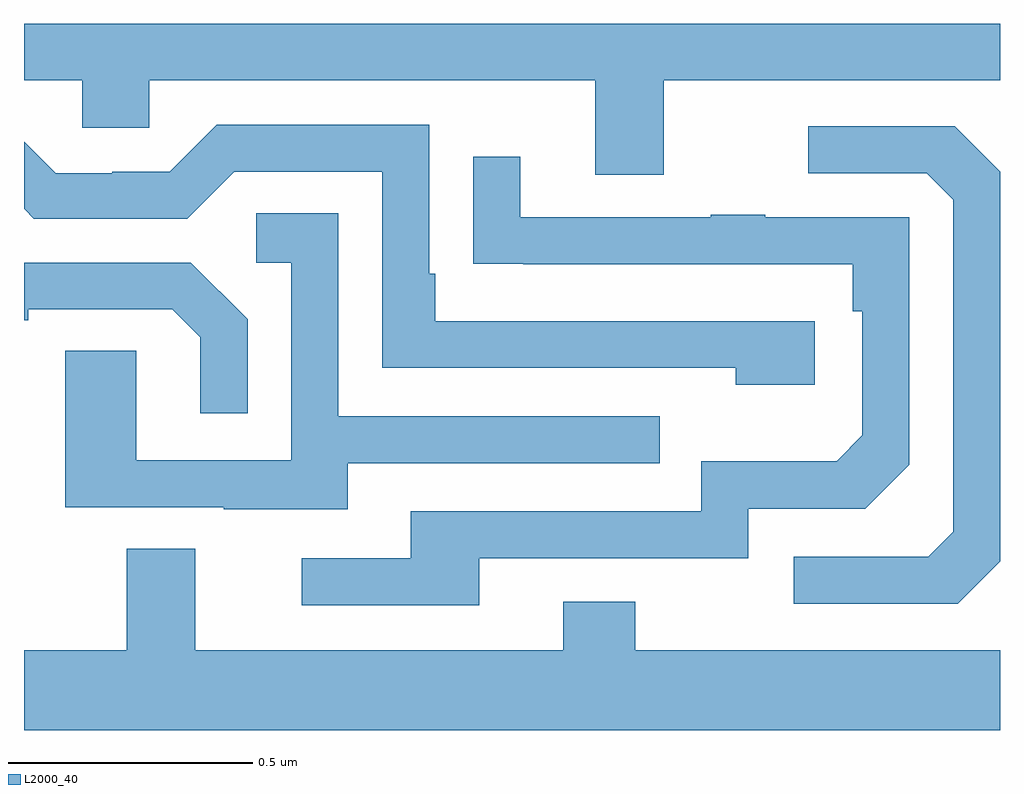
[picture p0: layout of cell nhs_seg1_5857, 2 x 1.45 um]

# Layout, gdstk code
import gdstk
lib = gdstk.Library(unit=1e-6, precision=1e-09)
def P(c, l, *ps):  # polygons
    for p in ps: c.add(gdstk.Polygon(p, *l))
L2000_40 = (2000, 40)

nhs_seg1_5857 = lib.new_cell('nhs_seg1_5857')
P(nhs_seg1_5857, L2000_40, [(185.311,533.084),(186,533.084),(186,533.199),(184,533.199),(184,533.084),(184.119,533.084),(184.119,532.986),(184.257,532.986),(184.257,533.084),(185.171,533.084),(185.171,532.89),(185.311,532.89)],
  [(185.62,532.59),(184.843,532.59),(184.843,532.687),(184.83,532.687),(184.83,532.992),(184.395,532.992),(184.299,532.896),(184.181,532.896),(184.181,532.893),(184.065,532.893),(184,532.958),(184,532.82),(184.02,532.8),(184.335,532.8),(184.431,532.896),(184.734,532.896),(184.734,532.494),(185.459,532.494),(185.459,532.46),(185.62,532.46)],
  [(186,532.098),(186,532.896),(185.907,532.989),(185.607,532.989),(185.607,532.893),(185.85,532.893),(185.904,532.839),(185.904,532.158),(185.853,532.107),(185.577,532.107),(185.577,532.011),(185.913,532.011)],
  [(184.933,532.104),(185.484,532.104),(185.484,532.206),(185.724,532.206),(185.814,532.296),(185.814,532.803),(185.519,532.803),(185.519,532.808),(185.407,532.808),(185.407,532.803),(185.017,532.803),(185.017,532.927),(184.921,532.927),(184.921,532.708),(185.023,532.708),(185.023,532.707),(185.698,532.707),(185.698,532.61),(185.718,532.61),(185.718,532.356),(185.665,532.303),(185.388,532.303),(185.388,532.2),(184.793,532.2),(184.793,532.104),(184.569,532.104),(184.569,532.008),(184.933,532.008)],
  [(184.663,532.299),(185.303,532.299),(185.303,532.395),(184.644,532.395),(184.644,532.811),(184.476,532.811),(184.476,532.71),(184.548,532.71),(184.548,532.305),(184.23,532.305),(184.23,532.529),(184.085,532.529),(184.085,532.209),(184.409,532.209),(184.409,532.205),(184.663,532.205)],
  [(184.458,532.594),(184.342,532.71),(184,532.71),(184,532.592),(184.009,532.592),(184.009,532.614),(184.304,532.614),(184.361,532.557),(184.361,532.401),(184.458,532.401)],
  [(186,531.916),(185.253,531.916),(185.253,532.015),(185.105,532.015),(185.105,531.916),(184.351,531.916),(184.351,532.124),(184.211,532.124),(184.211,531.916),(184,531.916),(184,531.752),(186,531.752)])

lib.write_gds('nhs_seg1_5857.gds')
